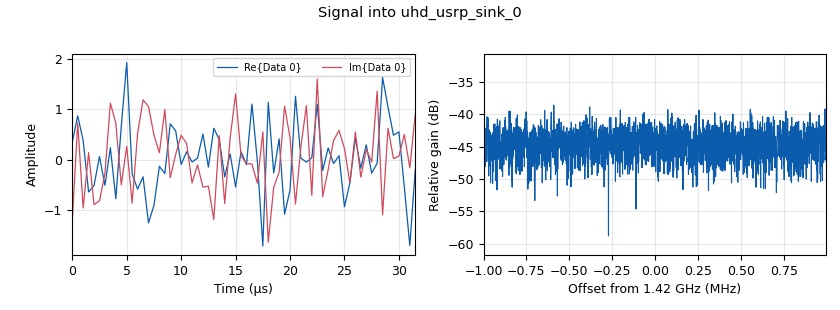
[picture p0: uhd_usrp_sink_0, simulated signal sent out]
options:
  parameters:
    generate_options: no_gui
    id: source
    output_language: python
  states: {}

blocks:
- name: analog_noise_source_x_0
  id: analog_noise_source_x
  parameters:
    amp: '1'
    noise_type: analog.GR_GAUSSIAN
    seed: '0'
    type: complex
  states: {}
- name: bandwidth
  id: parameter
  parameters:
    type: eng_float
    value: 2e6
  states: {}
- name: frequency
  id: parameter
  parameters:
    type: eng_float
    value: 1420e6
  states: {}
- name: tx_gain
  id: parameter
  parameters:
    type: eng_float
    value: '45'
  states: {}
- name: uhd_usrp_sink_0
  id: uhd_usrp_sink
  parameters:
    ant0: TX/RX
    center_freq0: frequency
    dev_args: '""'
    gain0: tx_gain
    len_tag_name: ''
    norm_gain0: 'False'
    samp_rate: bandwidth
    sync: sync
    type: fc32
  states: {}

connections:
- [analog_noise_source_x_0, '0', uhd_usrp_sink_0, '0']

metadata:
  file_format: 1
